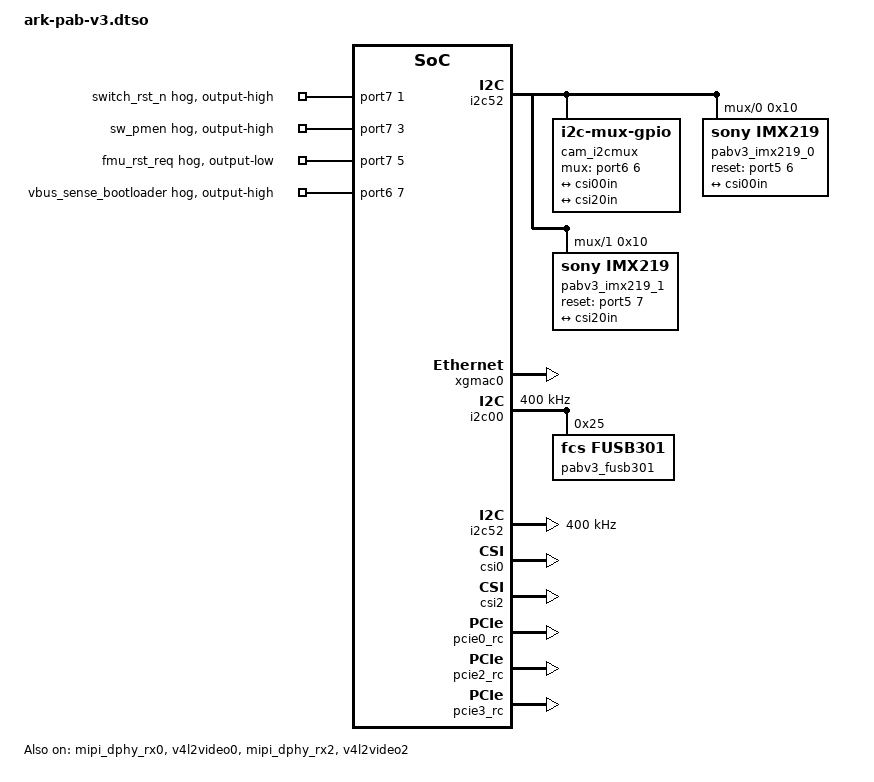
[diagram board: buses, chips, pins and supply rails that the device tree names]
// SPDX-License-Identifier: (GPL-2.0+ OR MIT)
/*
 * ARK Jetson PAB Carrier V3 with SiMa.ai Modalix SoM
 *
 * Hardware: ARK Jetson PAB Carrier V3 Rev 3.0 schematic + Modalix 005-HW-32 pin map.
 *
 * KSZ8795CLX (sheet 15) — SoM GbE is dead until SWITCH_RSTn is high:
 *   - SWITCH_RSTn = SODIMM 211 = SIO7[1] = port7 line 1 → hog output-high
 *   - SW_PMEn     = SODIMM 216 = SIO7[3] = port7 line 3 → hog output-high
 *   - FMU_RST_REQ = SODIMM 228 = SIO7[5] = port7 line 5 → hog output-low
 *
 * gpio70/port7 is already status=okay in modalix-som_16g.dtb.
 * VBUS_SENSE_BOOTLOADER = SODIMM 206 = SIO6[7] = port6 line 7 → hog
 * output-high so ARKV6X FMU enumerates on USB (/dev/ttyACM0).
 * Do not hog CAM0/CAM1 PWDN (SIO5[6]/[7]) or FUSB INT_N (SIO6[0]) at
 * gpiochip probe next to the KSZ hogs: that brown out 5 V PAB at
 * Starting kernel. Camera PWDN is imx219 reset-gpios (released high at
 * sensor probe, after the switch is already up).
 *
 * Dual IMX219 (FSUSB42 mux, same as JAJ electrically on I2C/PWDN):
 *   - CAM_I2C = i2c52 → FSUSB42, CAM_MUX_SEL = port6 line 6
 *   - Lanes differ from JAJ. Jetson PAB V3 dual overlay is CSI0+CSI2
 *     (serial_a + serial_c); JAJ is CSI1+CSI2 (serial_b + serial_c).
 *   - CAM0 J28 sel=0 → CSI0 (csi@40c0000); CAM1 J25 sel=1 → CSI2
 *   - CAM0/CAM1 PWDN = port5 GPIO6/7 via reset-gpios, not gpio-hogs
 *
 * Copper is 10/100. Keep MAC snps,ps-speed = 1000 (in-band SGMII / 1G GMII)
 * and limit the Marvell 88E1510 with max-speed = <100>.
 *
 * FUSB301 @ i2c00 0x25 (same chip as JAJ). INT_N is USB0_VBUS_DETn = SIO6[0].
 * Disabling the SoM uart-hog and hogging that pad as input + pull-up (JAJ)
 * next to the KSZ hogs resets 5 V PAB at Starting kernel. I2C to 0x25 is
 * enough for ark-jaj-usb-init.sh (DEVICEID 0x12). Leave SIO6[0] alone.
 *
 * M.2 Key M NVMe is PCIE0 (stock SoM DTB already okay; keep it explicit).
 */

/dts-v1/;
/plugin/;

&{/} {
	model = "ARK Jetson PAB V3 with SiMa Modalix SoM";
	compatible = "ark,jetson-pab-v3", "simaai,modalix-som", "simaai,modalix";

	pabv3_xclk0: pabv3-xclk0 {
		compatible = "fixed-clock";
		#clock-cells = <0>;
		clock-frequency = <24000000>;
		status = "okay";
	};

	pabv3_xclk1: pabv3-xclk1 {
		compatible = "fixed-clock";
		#clock-cells = <0>;
		clock-frequency = <24000000>;
		status = "okay";
	};

	ark_pab_v3 {
		compatible = "ark,jetson-pab-v3";
		status = "okay";
	};

	/*
	 * GPIO I2C mux for dual IMX219 (same address 0x10 on CAM_I2C).
	 * Must be a root node with i2c-parent, not a child of i2c52.
	 */
	cam_i2cmux: i2cmux {
		compatible = "i2c-mux-gpio";
		#address-cells = <1>;
		#size-cells = <0>;
		i2c-parent = <&i2c52>;
		mux-gpios = <&port6 6 0>;
		idle-state = <0>;

		/* CAM0 — CSI0 / J28 (PAB V3; JAJ uses CSI1 here) */
		i2c@0 {
			reg = <0>;
			#address-cells = <1>;
			#size-cells = <0>;

			pabv3_imx219_0: imx219@10 {
				compatible = "sony,imx219";
				reg = <0x10>;
				status = "okay";
				clocks = <&pabv3_xclk0>;
				clock-names = "xclk";
				reset-gpios = <&port5 6 0>;
				rotation = <180>;
				orientation = <2>;

				port {
					pabv3_cam0_ep: endpoint {
						clock-lanes = <0>;
						data-lanes = <1 2>;
						link-frequencies = /bits/ 64 <456000000>;
						remote-endpoint = <&csi00in>;
						clock-noncontinuous;
					};
				};
			};
		};

		/* CAM1 — CSI2 / J25 */
		i2c@1 {
			reg = <1>;
			#address-cells = <1>;
			#size-cells = <0>;

			pabv3_imx219_1: imx219@10 {
				compatible = "sony,imx219";
				reg = <0x10>;
				status = "okay";
				clocks = <&pabv3_xclk1>;
				clock-names = "xclk";
				reset-gpios = <&port5 7 0>;
				rotation = <180>;
				orientation = <2>;

				port {
					pabv3_cam1_ep: endpoint {
						clock-lanes = <0>;
						data-lanes = <1 2>;
						link-frequencies = /bits/ 64 <456000000>;
						remote-endpoint = <&csi20in>;
						clock-noncontinuous;
					};
				};
			};
		};
	};
};

&xgmac0 {
	status = "okay";
	max-speed = <100>;
};

&{/ethernet@a800000/mdio0/ethernet-phy@0} {
	max-speed = <100>;
};

&port7 {
	switch-rst-n-hog {
		gpio-hog;
		gpios = <1 0>;
		output-high;
		line-name = "switch_rst_n";
	};

	sw-pmen-hog {
		gpio-hog;
		gpios = <3 0>;
		output-high;
		line-name = "sw_pmen";
	};

	fmu-rst-req-hog {
		gpio-hog;
		gpios = <5 0>;
		output-low;
		line-name = "fmu_rst_req";
	};
};

&port6 {
	vbus-sense-bootloader-hog {
		gpio-hog;
		gpios = <7 0>;
		output-high;
		line-name = "vbus_sense_bootloader";
	};
};

&i2c00 {
	status = "okay";
	clock-frequency = <400000>;
	#address-cells = <1>;
	#size-cells = <0>;

	pabv3_fusb301: fusb301@25 {
		compatible = "fcs,fusb301", "onnn,fusb301";
		reg = <0x25>;
		status = "okay";

		connector {
			compatible = "usb-c-connector";
			label = "USB-C";
			data-role = "dual";
			power-role = "dual";
			try-power-role = "source";
		};
	};
};

/* Parent bus for CAM_I2C (SoM → FSUSB42 → both cameras) */
&i2c52 {
	status = "okay";
	clock-frequency = <400000>;
};

/* CSI0 (CAM0/J28) + CSI2 (CAM1/J25) — PAB V3 lanes, not JAJ CSI1+CSI2 */
&csi0 {
	status = "okay";
};

&axi_vdma0 {
	status = "okay";
};

&mipi_dphy_rx0 {
	status = "okay";
};

&v4l2video0 {
	status = "okay";
};

&v4l2vdma0 {
	status = "okay";
};

&csi00in {
	clock-lanes = <0>;
	data-lanes = <1 2>;
	link-frequencies = /bits/ 64 <456000000>;
	remote-endpoint = <&pabv3_cam0_ep>;
	clock-noncontinuous;
};

&csi1 {
	status = "disabled";
};

&csi2 {
	status = "okay";
};

&axi_vdma2 {
	status = "okay";
};

&mipi_dphy_rx2 {
	status = "okay";
};

&v4l2video2 {
	status = "okay";
};

&v4l2vdma2 {
	status = "okay";
};

&csi20in {
	clock-lanes = <0>;
	data-lanes = <1 2>;
	link-frequencies = /bits/ 64 <456000000>;
	remote-endpoint = <&pabv3_cam1_ep>;
	clock-noncontinuous;
};

&pcie0_rc {
	status = "okay";
};

&pcie2_rc {
	status = "okay";
};

&pcie3_rc {
	status = "okay";
};
